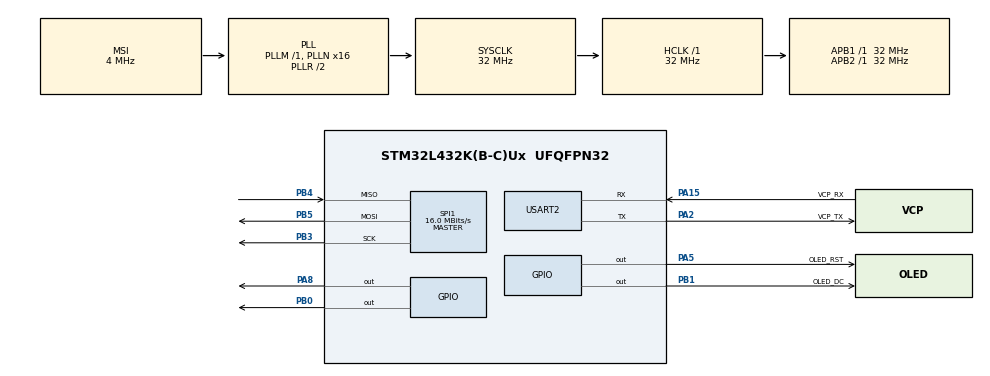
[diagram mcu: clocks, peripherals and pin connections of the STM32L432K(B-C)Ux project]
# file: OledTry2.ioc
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Dma.Request0=USART2_RX
Dma.USART2_RX.0.Direction=DMA_PERIPH_TO_MEMORY
Dma.USART2_RX.0.Instance=DMA1_Channel6
Dma.USART2_RX.0.MemDataAlignment=DMA_MDATAALIGN_BYTE
Dma.USART2_RX.0.MemInc=DMA_MINC_DISABLE
Dma.USART2_RX.0.Mode=DMA_CIRCULAR
Dma.USART2_RX.0.PeriphDataAlignment=DMA_PDATAALIGN_BYTE
Dma.USART2_RX.0.PeriphInc=DMA_PINC_DISABLE
Dma.USART2_RX.0.Priority=DMA_PRIORITY_MEDIUM
Mcu.Family=STM32L4
Mcu.Name=STM32L432K(B-C)Ux
Mcu.Package=UFQFPN32
NVIC.DMA1_Channel6_IRQn=true\:0\:0\:false\:false\:true\:false\:true\:true
NVIC.PriorityGroup=NVIC_PRIORITYGROUP_4
NVIC.USART2_IRQn=true\:0\:0\:false\:false\:true\:true\:true\:true
PA0.Mode=HSE-External-Clock-Source-for-LittleOrca
PA0.Signal=RCC_CK_IN
PA13\ (JTMS-SWDIO).GPIO_Label=SWDIO
PA13\ (JTMS-SWDIO).Mode=Serial_Wire
PA13\ (JTMS-SWDIO).Signal=SYS_JTMS-SWDIO
PA14\ (JTCK-SWCLK).GPIO_Label=SWCLK
PA14\ (JTCK-SWCLK).Mode=Serial_Wire
PA14\ (JTCK-SWCLK).Signal=SYS_JTCK-SWCLK
PA15\ (JTDI).GPIO_Label=VCP_RX
PA15\ (JTDI).Mode=Asynchronous
PA15\ (JTDI).Signal=USART2_RX
PA2.GPIO_Label=VCP_TX
PA2.Mode=Asynchronous
PA2.Signal=USART2_TX
PA5.GPIO_Label=OLED_RST
PA5.Signal=GPIO_Output
PA8.Signal=GPIO_Output
PB0.Signal=GPIO_Output
PB1.GPIO_Label=OLED_DC
PB1.Signal=GPIO_Output
PB3\ (JTDO-TRACESWO).Mode=Full_Duplex_Master
PB3\ (JTDO-TRACESWO).Signal=SPI1_SCK
PB4\ (NJTRST).Mode=Full_Duplex_Master
PB4\ (NJTRST).Signal=SPI1_MISO
PB5.Mode=Full_Duplex_Master
PB5.Signal=SPI1_MOSI
PC14-OSC32_IN\ (PC14).Mode=LSE-External-Oscillator
PC14-OSC32_IN\ (PC14).Signal=RCC_OSC32_IN
PC15-OSC32_OUT\ (PC15).Mode=LSE-External-Oscillator
PC15-OSC32_OUT\ (PC15).Signal=RCC_OSC32_OUT
ProjectManager.HeapSize=0x200
ProjectManager.StackSize=0x400
ProjectManager.TargetToolchain=STM32CubeIDE
RCC.AHBFreq_Value=32000000
RCC.APB1Freq_Value=32000000
RCC.APB1TimFreq_Value=32000000
RCC.APB2Freq_Value=32000000
RCC.APB2TimFreq_Value=32000000
RCC.CortexFreq_Value=32000000
RCC.HCLKFreq_Value=32000000
RCC.HSE_VALUE=8000000
RCC.HSI16_VALUE=16000000
RCC.HSI48_VALUE=48000000
RCC.HSI_VALUE=16000000
RCC.MSI_VALUE=4000000
RCC.PLLMUL=RCC_PLLMUL_4
RCC.PLLN=16
RCC.SYSCLKFreq_VALUE=32000000
RCC.SYSCLKSource=RCC_SYSCLKSOURCE_PLLCLK
RCC.VCOOutputFreq_Value=64000000
SPI1.BaudRatePrescaler=SPI_BAUDRATEPRESCALER_2
SPI1.CLKPhase=SPI_PHASE_2EDGE
SPI1.CLKPolarity=SPI_POLARITY_HIGH
SPI1.CalculateBaudRate=16.0 MBits/s
SPI1.DataSize=SPI_DATASIZE_8BIT
SPI1.Direction=SPI_DIRECTION_2LINES
SPI1.Mode=SPI_MODE_MASTER
SPI1.VirtualType=VM_MASTER
USART2.VirtualMode-Asynchronous=VM_ASYNC
board=NUCLEO-L432KC

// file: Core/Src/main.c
/* USER CODE BEGIN Header */
/**
  ******************************************************************************
  * @file           : main.c
  * @brief          : Main program body
  ******************************************************************************
  * @attention
  *
  * Copyright (c) 2023 STMicroelectronics.
  * All rights reserved.
  *
  * This software is licensed under terms that can be found in the LICENSE file
  * in the root directory of this software component.
  * If no LICENSE file comes with this software, it is provided AS-IS.
  *
  ******************************************************************************
  */
/* USER CODE END Header */
#include "main.h"

/* USER CODE BEGIN Includes */
#include "bitmaps.h"
#include "Oled_C.h"
#include <stdio.h>
#include <stdlib.h>
#include <string.h>
/* USER CODE END Includes */

SPI_HandleTypeDef hspi1;

UART_HandleTypeDef huart2;
DMA_HandleTypeDef hdma_usart2_rx;

/* USER CODE BEGIN PV */
uint8_t txBuffer[] = "\n";
//string received
uint8_t rxBuffer[24];
uint8_t rxByte;
uint16_t rxIdx;
uint8_t rxFlag;

//Handles the resaponce from uart
void responseHandler(char* receivedString){

	if(receivedString[0]=='r'){
		drawPokemonAndPokedex(charmander,
			sizeof(charmander)/sizeof(charmander[0]),
			"Name: Charmander\nType: Fire",
			sizeof("Name: Charmander\nType: Fire")/sizeof(char));
			return;
	}
	else if(receivedString[0]=='g'){

		drawPokemonAndPokedex(bulbusor,
			sizeof(bulbusor)/sizeof(bulbusor[0]),
			"Name: Bulbasour\nType: Grass",
			sizeof("Name: Bulbasor\nType: Grass")/sizeof(char));
			return;

	}

	else if(receivedString[0]=='b'){
		drawPokemonAndPokedex(bigPika,
			sizeof(bigPika)/sizeof(bigPika[0]),
			"Name: Raichu\nType: Electric",
			sizeof("Name: Raichu\nType: Electric")/sizeof(char));
			return;
	}
	else{
		snprintf((char*)txBuffer, sizeof("Not valid\n"), "Not valid\n");
		HAL_UART_Transmit(&huart2, txBuffer, strlen((char*) txBuffer),100);
		snprintf((char*)txBuffer, sizeof("Opts:\n"), "Optsn\n");
		HAL_UART_Transmit(&huart2, txBuffer, strlen((char*) txBuffer),100);
		snprintf((char*)txBuffer, sizeof("r,g,"), "r,g,");
		HAL_UART_Transmit(&huart2, txBuffer, strlen((char*) txBuffer),100);
		snprintf((char*)txBuffer, sizeof("b\n"), "b\n");
		HAL_UART_Transmit(&huart2, txBuffer, strlen((char*) txBuffer),100);
		return;
	}

}

/* USER CODE END PV */

void SystemClock_Config(void);
static void MX_GPIO_Init(void);
static void MX_DMA_Init(void);
static void MX_USART2_UART_Init(void);
static void MX_SPI1_Init(void);

/* USER CODE BEGIN 0 */
// global variables                                                       // next line calculated by font

//uint8_t outputBuffer = pika;

/* USER CODE END 0 */

int main(void)
{

  /* MCU Configuration--------------------------------------------------------*/

  /* Reset of all peripherals, Initializes the Flash interface and the Systick. */
  HAL_Init();

  /* USER CODE BEGIN Init */

  //processes commands

  /* USER CODE END Init */

  /* Configure the system clock */
  SystemClock_Config();

  /* Initialize all configured peripherals */
  MX_GPIO_Init();
  MX_DMA_Init();
  MX_USART2_UART_Init();
  MX_SPI1_Init();
  /* USER CODE BEGIN 2 */
  InitMCU(hspi1);
  //flush
  __HAL_UART_FLUSH_DRREGISTER(&huart2);
  //set up dma connection with the uart and rxByte
  HAL_UART_Receive_DMA(&huart2, &rxByte, 1);
  drawString(0,0,"POKEMON\n      GO");
  /* USER CODE END 2 */

  /* Infinite loop */
  while (1)
  {

    /* USER CODE BEGIN 3 */
	  if(rxFlag == 1) {
	      	rxFlag = 0;
	      	snprintf((char*)txBuffer, sizeof(rxBuffer), rxBuffer);

	      	responseHandler((char*)rxBuffer);
	      	//clean receive buffer
	      	for(int i=0;i<24;i++) rxBuffer[i] = 0;

	      	//HAL_UART_Transmit(&huart2, txBuffer, strlen((char*) txBuffer),100);
	      	//i++;
	      }
	      HAL_Delay(100);
  }
  /* USER CODE END 3 */
}

void SystemClock_Config(void)
{
  RCC_OscInitTypeDef RCC_OscInitStruct = {0};
  RCC_ClkInitTypeDef RCC_ClkInitStruct = {0};

  /** Configure the main internal regulator output voltage
  */
  if (HAL_PWREx_ControlVoltageScaling(PWR_REGULATOR_VOLTAGE_SCALE1) != HAL_OK)
  {
    Error_Handler();
  }

  /** Configure LSE Drive Capability
  */
  HAL_PWR_EnableBkUpAccess();
  __HAL_RCC_LSEDRIVE_CONFIG(RCC_LSEDRIVE_LOW);

  /** Initializes the RCC Oscillators according to the specified parameters
  * in the RCC_OscInitTypeDef structure.
  */
  RCC_OscInitStruct.OscillatorType = RCC_OSCILLATORTYPE_LSE|RCC_OSCILLATORTYPE_MSI;
  RCC_OscInitStruct.LSEState = RCC_LSE_ON;
  RCC_OscInitStruct.MSIState = RCC_MSI_ON;
  RCC_OscInitStruct.MSICalibrationValue = 0;
  RCC_OscInitStruct.MSIClockRange = RCC_MSIRANGE_6;
  RCC_OscInitStruct.PLL.PLLState = RCC_PLL_ON;
  RCC_OscInitStruct.PLL.PLLSource = RCC_PLLSOURCE_MSI;
  RCC_OscInitStruct.PLL.PLLM = 1;
  RCC_OscInitStruct.PLL.PLLN = 16;
  RCC_OscInitStruct.PLL.PLLP = RCC_PLLP_DIV7;
  RCC_OscInitStruct.PLL.PLLQ = RCC_PLLQ_DIV2;
  RCC_OscInitStruct.PLL.PLLR = RCC_PLLR_DIV2;
  if (HAL_RCC_OscConfig(&RCC_OscInitStruct) != HAL_OK)
  {
    Error_Handler();
  }

  /** Initializes the CPU, AHB and APB buses clocks
  */
  RCC_ClkInitStruct.ClockType = RCC_CLOCKTYPE_HCLK|RCC_CLOCKTYPE_SYSCLK
                              |RCC_CLOCKTYPE_PCLK1|RCC_CLOCKTYPE_PCLK2;
  RCC_ClkInitStruct.SYSCLKSource = RCC_SYSCLKSOURCE_PLLCLK;
  RCC_ClkInitStruct.AHBCLKDivider = RCC_SYSCLK_DIV1;
  RCC_ClkInitStruct.APB1CLKDivider = RCC_HCLK_DIV1;
  RCC_ClkInitStruct.APB2CLKDivider = RCC_HCLK_DIV1;

  if (HAL_RCC_ClockConfig(&RCC_ClkInitStruct, FLASH_LATENCY_1) != HAL_OK)
  {
    Error_Handler();
  }

  /** Enable MSI Auto calibration
  */
  HAL_RCCEx_EnableMSIPLLMode();
}

static void MX_SPI1_Init(void)
{

  /* SPI1 parameter configuration*/
  hspi1.Instance = SPI1;
  hspi1.Init.Mode = SPI_MODE_MASTER;
  hspi1.Init.Direction = SPI_DIRECTION_2LINES;
  hspi1.Init.DataSize = SPI_DATASIZE_8BIT;
  hspi1.Init.CLKPolarity = SPI_POLARITY_HIGH;
  hspi1.Init.CLKPhase = SPI_PHASE_2EDGE;
  hspi1.Init.NSS = SPI_NSS_SOFT;
  hspi1.Init.BaudRatePrescaler = SPI_BAUDRATEPRESCALER_2;
  hspi1.Init.FirstBit = SPI_FIRSTBIT_MSB;
  hspi1.Init.TIMode = SPI_TIMODE_DISABLE;
  hspi1.Init.CRCCalculation = SPI_CRCCALCULATION_DISABLE;
  hspi1.Init.CRCPolynomial = 7;
  hspi1.Init.CRCLength = SPI_CRC_LENGTH_DATASIZE;
  hspi1.Init.NSSPMode = SPI_NSS_PULSE_DISABLE;
  if (HAL_SPI_Init(&hspi1) != HAL_OK)
  {
    Error_Handler();
  }

}

static void MX_USART2_UART_Init(void)
{

  huart2.Instance = USART2;
  huart2.Init.BaudRate = 115200;
  huart2.Init.WordLength = UART_WORDLENGTH_8B;
  huart2.Init.StopBits = UART_STOPBITS_1;
  huart2.Init.Parity = UART_PARITY_NONE;
  huart2.Init.Mode = UART_MODE_TX_RX;
  huart2.Init.HwFlowCtl = UART_HWCONTROL_NONE;
  huart2.Init.OverSampling = UART_OVERSAMPLING_16;
  huart2.Init.OneBitSampling = UART_ONE_BIT_SAMPLE_DISABLE;
  huart2.AdvancedInit.AdvFeatureInit = UART_ADVFEATURE_NO_INIT;
  if (HAL_UART_Init(&huart2) != HAL_OK)
  {
    Error_Handler();
  }

}

static void MX_DMA_Init(void)
{

  /* DMA controller clock enable */
  __HAL_RCC_DMA1_CLK_ENABLE();

  /* DMA interrupt init */
  /* DMA1_Channel6_IRQn interrupt configuration */
  HAL_NVIC_SetPriority(DMA1_Channel6_IRQn, 0, 0);
  HAL_NVIC_EnableIRQ(DMA1_Channel6_IRQn);

}

static void MX_GPIO_Init(void)
{
  GPIO_InitTypeDef GPIO_InitStruct = {0};

  /* GPIO Ports Clock Enable */
  __HAL_RCC_GPIOC_CLK_ENABLE();
  __HAL_RCC_GPIOA_CLK_ENABLE();
  __HAL_RCC_GPIOB_CLK_ENABLE();

  /*Configure GPIO pin Output Level */
  HAL_GPIO_WritePin(GPIOA, OLED_RST_Pin|GPIO_PIN_8, GPIO_PIN_RESET);

  /*Configure GPIO pin Output Level */
  HAL_GPIO_WritePin(GPIOB, GPIO_PIN_0|OLED_DC_Pin, GPIO_PIN_RESET);

  /*Configure GPIO pins : OLED_RST_Pin PA8 */
  GPIO_InitStruct.Pin = OLED_RST_Pin|GPIO_PIN_8;
  GPIO_InitStruct.Mode = GPIO_MODE_OUTPUT_PP;
  GPIO_InitStruct.Pull = GPIO_NOPULL;
  GPIO_InitStruct.Speed = GPIO_SPEED_FREQ_LOW;
  HAL_GPIO_Init(GPIOA, &GPIO_InitStruct);

  /*Configure GPIO pins : PB0 OLED_DC_Pin */
  GPIO_InitStruct.Pin = GPIO_PIN_0|OLED_DC_Pin;
  GPIO_InitStruct.Mode = GPIO_MODE_OUTPUT_PP;
  GPIO_InitStruct.Pull = GPIO_NOPULL;
  GPIO_InitStruct.Speed = GPIO_SPEED_FREQ_LOW;
  HAL_GPIO_Init(GPIOB, &GPIO_InitStruct);

}

/* USER CODE BEGIN 4 */
void HAL_UART_RxCpltCallback(UART_HandleTypeDef *huart) {

	if (huart->Instance == USART2) {
		__HAL_UART_FLUSH_DRREGISTER(&huart2);
		if(rxByte == 10 || rxIdx >= 23) {
			rxBuffer[rxIdx] = rxByte;
			rxFlag = 1;
			rxIdx = 0;
		}
		else {
			rxBuffer[rxIdx] = rxByte;
			rxIdx++;
		}
	}

}
/* USER CODE END 4 */

void Error_Handler(void)
{
  __disable_irq();
  while (1)
  {
  }
}
